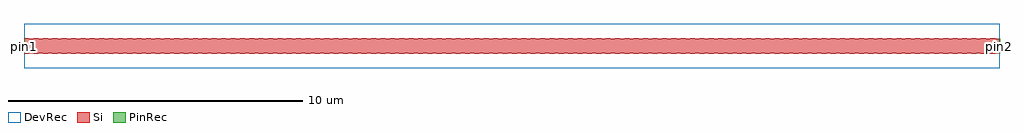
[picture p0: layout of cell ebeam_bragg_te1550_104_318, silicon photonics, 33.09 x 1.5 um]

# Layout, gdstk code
import gdstk
lib = gdstk.Library(unit=1e-6, precision=1e-09)
def R(c, l, rs):  # rectangles x0, y0, x1, y1
    for r in rs: c.add(gdstk.rectangle(r[:2], r[2:], *l))
def A(c, l, x, y, w, h, nx, ny, dx, dy):  # array of equal rectangles
    R(c, l, [(x+i*dx, y+j*dy, x+i*dx+w, y+j*dy+h) for i in range(nx) for j in range(ny)])
Si = (1, 0)
PinRec = (1, 10)
DevRec = (68, 0)

ebeam_bragg_te1550_104_3 = lib.new_cell('ebeam_bragg_te1550_104_318')
A(ebeam_bragg_te1550_104_3, Si, 0, -0.26, 0.159, 0.26, 104, 2, 0.318, 0.26)
A(ebeam_bragg_te1550_104_3, Si, 0.159, -0.24, 0.159, 0.24, 104, 2, 0.318, 0.24)
R(ebeam_bragg_te1550_104_3, DevRec, [(0,-0.75,33.072,0.75)])
ebeam_bragg_te1550_104_3.add(gdstk.FlexPath([(0.01,0),(-0.01,0)], 0.5, ends="flush", simple_path=True, layer=1, datatype=10))  # PinRec
ebeam_bragg_te1550_104_3.add(gdstk.FlexPath([(33.062,0),(33.082,0)], 0.5, ends="flush", simple_path=True, layer=1, datatype=10))  # PinRec
ebeam_bragg_te1550_104_3.add(gdstk.Label('pin1', (0,0), layer=1, texttype=10))
ebeam_bragg_te1550_104_3.add(gdstk.Label('pin2', (33.072,0), layer=1, texttype=10))
ebeam_bragg_te1550_104_3.add(gdstk.Label('Lumerical_INTERCONNECT_library=Design kits/ebeam', (0,0), layer=68, texttype=0))
ebeam_bragg_te1550_104_3.add(gdstk.Label('Component=ebeam_bragg_te1550', (3.307,0), layer=68, texttype=0))
ebeam_bragg_te1550_104_3.add(gdstk.Label('Spice_param:number_of_periods=104 grating_period=3.18e-07 corrugation_width=2e-08 misalignment=0 sinusoidal=0', (3.674,0), layer=68, texttype=0))

lib.write_gds('ebeam_bragg_te1550_104_318.gds')
